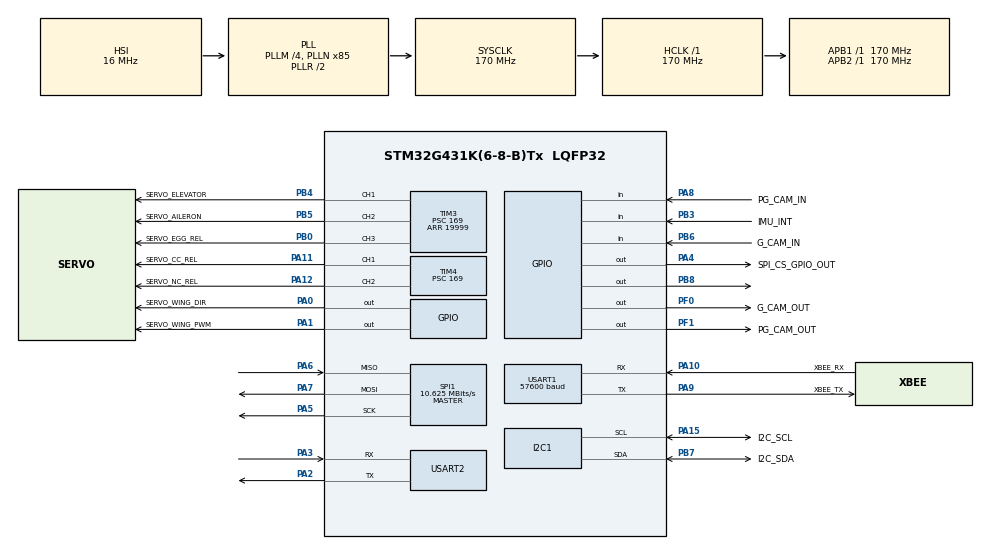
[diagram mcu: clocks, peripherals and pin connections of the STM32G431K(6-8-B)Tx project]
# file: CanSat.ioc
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I2C1.Timing=0x40B285C2
Mcu.Family=STM32G4
Mcu.Name=STM32G431K(6-8-B)Tx
Mcu.Package=LQFP32
NUCLEO-G431KB.LD2=true
NUCLEO-G431KB.VCP=true
NVIC.I2C1_ER_IRQn=true\:0\:0\:false\:false\:true\:true\:true\:true
NVIC.PriorityGroup=NVIC_PRIORITYGROUP_4
NVIC.TIM1_UP_TIM16_IRQn=true\:0\:0\:false\:false\:true\:true\:true\:true
NVIC.TIM2_IRQn=true\:0\:0\:false\:false\:true\:true\:true\:true
NVIC.TIM8_UP_IRQn=true\:0\:0\:false\:false\:true\:true\:true\:true
NVIC.USART1_IRQn=true\:0\:0\:false\:false\:true\:true\:true\:true
PA0.GPIO_Label=SERVO_WING_DIR
PA0.Signal=GPIO_Output
PA1.GPIO_Label=SERVO_WING_PWM
PA1.Signal=GPIO_Output
PA10.GPIO_Label=XBEE_RX
PA10.Mode=Asynchronous
PA10.Signal=USART1_RX
PA11.GPIO_Label=SERVO_CC_REL
PA11.Signal=S_TIM4_CH1
PA12.GPIO_Label=SERVO_NC_REL
PA12.Signal=S_TIM4_CH2
PA13.GPIO_Label=T_SWDIO
PA13.Signal=SYS_JTMS-SWDIO
PA14.GPIO_Label=T_SWCLK
PA14.Signal=SYS_JTCK-SWCLK
PA15.GPIO_Label=I2C_SCL
PA15.GPIO_Pu=GPIO_PULLUP
PA15.GPIO_Speed=GPIO_SPEED_FREQ_LOW
PA15.Mode=I2C
PA15.Signal=I2C1_SCL
PA2.Mode=Asynchronous
PA2.Signal=USART2_TX
PA3.Mode=Asynchronous
PA3.Signal=USART2_RX
PA4.GPIO_Label=SPI_CS_GPIO_OUT
PA4.Signal=GPIO_Output
PA5.Mode=Full_Duplex_Master
PA5.Signal=SPI1_SCK
PA6.Mode=Full_Duplex_Master
PA6.Signal=SPI1_MISO
PA7.Mode=Full_Duplex_Master
PA7.Signal=SPI1_MOSI
PA8.GPIO_Label=PG_CAM_IN
PA8.GPIO_PuPd=GPIO_PULLUP
PA8.Signal=GPIO_Input
PA9.GPIO_Label=XBEE_TX
PA9.Mode=Asynchronous
PA9.Signal=USART1_TX
PB0.GPIO_Label=SERVO_EGG_REL
PB0.Signal=S_TIM3_CH3
PB3.GPIO_Label=IMU_INT
PB3.Signal=GPIO_Input
PB4.GPIO_Label=SERVO_ELEVATOR
PB4.Signal=S_TIM3_CH1
PB5.GPIO_Label=SERVO_AILERON
PB5.Signal=S_TIM3_CH2
PB6.GPIO_Label=G_CAM_IN
PB6.GPIO_PuPd=GPIO_PULLUP
PB6.Signal=GPIO_Input
PB7.GPIO_Label=I2C_SDA
PB7.GPIO_Pu=GPIO_PULLUP
PB7.GPIO_Speed=GPIO_SPEED_FREQ_LOW
PB7.Mode=I2C
PB7.Signal=I2C1_SDA
PB8-BOOT0.Signal=GPIO_Output
PF0-OSC_IN.GPIO_Label=G_CAM_OUT
PF0-OSC_IN.PinState=GPIO_PIN_SET
PF0-OSC_IN.Signal=GPIO_Output
PF1-OSC_OUT.GPIO_Label=PG_CAM_OUT
PF1-OSC_OUT.GPIO_Speed=GPIO_SPEED_FREQ_LOW
PF1-OSC_OUT.PinState=GPIO_PIN_SET
PF1-OSC_OUT.Signal=GPIO_Output
ProjectManager.HeapSize=0x200
ProjectManager.StackSize=0x400
ProjectManager.TargetToolchain=STM32CubeIDE
RCC.ADC12Freq_Value=170000000
RCC.AHBFreq_Value=170000000
RCC.APB1Freq_Value=170000000
RCC.APB1TimFreq_Value=170000000
RCC.APB2Freq_Value=170000000
RCC.APB2TimFreq_Value=170000000
RCC.CortexFreq_Value=170000000
RCC.EXTERNAL_CLOCK_VALUE=12288000
RCC.HCLKFreq_Value=170000000
RCC.HSE_VALUE=8000000
RCC.HSI48_VALUE=48000000
RCC.HSI_VALUE=16000000
RCC.LSE_VALUE=32768
RCC.PLLM=RCC_PLLM_DIV4
RCC.PLLN=85
RCC.SYSCLKFreq_VALUE=170000000
RCC.SYSCLKSource=RCC_SYSCLKSOURCE_PLLCLK
RCC.USBFreq_Value=170000000
RCC.VCOOutputFreq_Value=340000000
SH.S_TIM3_CH1.0=TIM3_CH1,PWM Generation1 CH1
SH.S_TIM3_CH2.0=TIM3_CH2,PWM Generation2 CH2
SH.S_TIM3_CH3.0=TIM3_CH3,PWM Generation3 CH3
SH.S_TIM4_CH1.0=TIM4_CH1,PWM Generation1 CH1
SH.S_TIM4_CH2.0=TIM4_CH2,PWM Generation2 CH2
SPI1.BaudRatePrescaler=SPI_BAUDRATEPRESCALER_16
SPI1.CalculateBaudRate=10.625 MBits/s
SPI1.DataSize=SPI_DATASIZE_8BIT
SPI1.Direction=SPI_DIRECTION_2LINES
SPI1.Mode=SPI_MODE_MASTER
SPI1.NSSPMode=SPI_NSS_PULSE_DISABLE
SPI1.VirtualType=VM_MASTER
SYS.PVDLevel=PWR_PVDLEVEL_6
TIM1.PeriodNoDither=9999
TIM1.Prescaler=16999
TIM2.PeriodNoDither=999
TIM2.Prescaler=1699
TIM3.Channel-PWM\ Generation1\ CH1=TIM_CHANNEL_1
TIM3.Channel-PWM\ Generation2\ CH2=TIM_CHANNEL_2
TIM3.Channel-PWM\ Generation3\ CH3=TIM_CHANNEL_3
TIM3.PeriodNoDither=19999
TIM3.Prescaler=169
TIM4.Channel-PWM\ Generation1\ CH1=TIM_CHANNEL_1
TIM4.Channel-PWM\ Generation2\ CH2=TIM_CHANNEL_2
TIM4.PeriodNoDither=19999
TIM4.Prescaler=169
TIM8.PeriodNoDither=1999
TIM8.Prescaler=1699
USART1.BaudRate=57600
USART1.VirtualMode-Asynchronous=VM_ASYNC
USART2.VirtualMode-Asynchronous=VM_ASYNC
VP_NUCLEO-G431KB_VS_BSP_COMMON.Mode=COMMON
VP_SYS_VS_DBSignals.Mode=DisableDeadBatterySignals
VP_SYS_V_PVD_IN.Mode=Mode_PVD_Int
VP_TIM1_VS_ClockSourceINT.Mode=Internal
VP_TIM2_VS_ClockSourceINT.Mode=Internal
VP_TIM3_VS_ClockSourceINT.Mode=Internal
VP_TIM4_VS_ClockSourceINT.Mode=Internal
VP_TIM8_VS_ClockSourceINT.Mode=Internal
board=NUCLEO-G431KB

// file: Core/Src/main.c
/* USER CODE BEGIN Header */
/**
  ******************************************************************************
  * @file           : main.c
  * @brief          : Main program body
  ******************************************************************************
  * @attention
  *
  * Copyright (c) 2025 STMicroelectronics.
  * All rights reserved.
  *
  * This software is licensed under terms that can be found in the LICENSE file
  * in the root directory of this software component.
  * If no LICENSE file comes with this software, it is provided AS-IS.
  *
  ******************************************************************************
  */
/* USER CODE END Header */
#include "main.h"

/* USER CODE BEGIN Includes */
#ifdef __cplusplus
 extern "C" {
#endif
void main_cpp();
#ifdef __cplusplus
}
#endif
/* USER CODE END Includes */

COM_InitTypeDef BspCOMInit;

I2C_HandleTypeDef hi2c1;

SPI_HandleTypeDef hspi1;

TIM_HandleTypeDef htim1;
TIM_HandleTypeDef htim2;
TIM_HandleTypeDef htim3;
TIM_HandleTypeDef htim4;
TIM_HandleTypeDef htim8;

UART_HandleTypeDef huart1;
UART_HandleTypeDef huart2;

/* USER CODE BEGIN PV */
volatile uint8_t send_flag = 0;
volatile uint8_t pvd_flag = 0;
uint8_t rx_byte;
volatile char rx_buff[128];
volatile uint8_t rx_idx = 0;
volatile uint8_t cmd_ready = 0;
volatile uint8_t discard_flag = 0;
volatile uint8_t update_flag = 0;
volatile uint8_t bno_flag = 0;
/* USER CODE END PV */

void SystemClock_Config(void);
static void MX_GPIO_Init(void);
static void MX_I2C1_Init(void);
static void MX_SPI1_Init(void);
static void MX_TIM1_Init(void);
static void MX_USART1_UART_Init(void);
static void MX_TIM3_Init(void);
static void MX_TIM4_Init(void);
static void MX_TIM8_Init(void);
static void MX_TIM2_Init(void);
static void MX_USART2_UART_Init(void);

int main(void)
{

  /* MCU Configuration--------------------------------------------------------*/

  /* Reset of all peripherals, Initializes the Flash interface and the Systick. */
  HAL_Init();

  /* Configure the system clock */
  SystemClock_Config();

  /* Initialize all configured peripherals */
  MX_GPIO_Init();
  MX_I2C1_Init();
  MX_SPI1_Init();
  MX_TIM1_Init();
  MX_USART1_UART_Init();
  MX_TIM3_Init();
  MX_TIM4_Init();
  MX_TIM8_Init();
  MX_TIM2_Init();
  MX_USART2_UART_Init();
  /* USER CODE BEGIN 2 */

  HAL_UART_Receive_IT(&huart1, &rx_byte, 1);

  /* USER CODE END 2 */

  /* Initialize leds */
  BSP_LED_Init(LED_GREEN);

  /* Initialize COM1 port (115200, 8 bits (7-bit data + 1 stop bit), no parity */
  BspCOMInit.BaudRate   = 115200;
  BspCOMInit.WordLength = COM_WORDLENGTH_8B;
  BspCOMInit.StopBits   = COM_STOPBITS_1;
  BspCOMInit.Parity     = COM_PARITY_NONE;
  BspCOMInit.HwFlowCtl  = COM_HWCONTROL_NONE;
  if (BSP_COM_Init(COM1, &BspCOMInit) != BSP_ERROR_NONE)
  {
    Error_Handler();
  }

  /* Infinite loop */
  /* USER CODE BEGIN WHILE */
  main_cpp();
  while (1)
  {

    /* USER CODE END WHILE */

  }
}

void SystemClock_Config(void)
{
  RCC_OscInitTypeDef RCC_OscInitStruct = {0};
  RCC_ClkInitTypeDef RCC_ClkInitStruct = {0};

  /** Configure the main internal regulator output voltage
  */
  HAL_PWREx_ControlVoltageScaling(PWR_REGULATOR_VOLTAGE_SCALE1_BOOST);

  /** Initializes the RCC Oscillators according to the specified parameters
  * in the RCC_OscInitTypeDef structure.
  */
  RCC_OscInitStruct.OscillatorType = RCC_OSCILLATORTYPE_HSI;
  RCC_OscInitStruct.HSIState = RCC_HSI_ON;
  RCC_OscInitStruct.HSICalibrationValue = RCC_HSICALIBRATION_DEFAULT;
  RCC_OscInitStruct.PLL.PLLState = RCC_PLL_ON;
  RCC_OscInitStruct.PLL.PLLSource = RCC_PLLSOURCE_HSI;
  RCC_OscInitStruct.PLL.PLLM = RCC_PLLM_DIV4;
  RCC_OscInitStruct.PLL.PLLN = 85;
  RCC_OscInitStruct.PLL.PLLP = RCC_PLLP_DIV2;
  RCC_OscInitStruct.PLL.PLLQ = RCC_PLLQ_DIV2;
  RCC_OscInitStruct.PLL.PLLR = RCC_PLLR_DIV2;
  if (HAL_RCC_OscConfig(&RCC_OscInitStruct) != HAL_OK)
  {
    Error_Handler();
  }

  /** Initializes the CPU, AHB and APB buses clocks
  */
  RCC_ClkInitStruct.ClockType = RCC_CLOCKTYPE_HCLK|RCC_CLOCKTYPE_SYSCLK
                              |RCC_CLOCKTYPE_PCLK1|RCC_CLOCKTYPE_PCLK2;
  RCC_ClkInitStruct.SYSCLKSource = RCC_SYSCLKSOURCE_PLLCLK;
  RCC_ClkInitStruct.AHBCLKDivider = RCC_SYSCLK_DIV1;
  RCC_ClkInitStruct.APB1CLKDivider = RCC_HCLK_DIV1;
  RCC_ClkInitStruct.APB2CLKDivider = RCC_HCLK_DIV1;

  if (HAL_RCC_ClockConfig(&RCC_ClkInitStruct, FLASH_LATENCY_4) != HAL_OK)
  {
    Error_Handler();
  }
}

static void MX_I2C1_Init(void)
{

  hi2c1.Instance = I2C1;
  hi2c1.Init.Timing = 0x40B285C2;
  hi2c1.Init.OwnAddress1 = 0;
  hi2c1.Init.AddressingMode = I2C_ADDRESSINGMODE_7BIT;
  hi2c1.Init.DualAddressMode = I2C_DUALADDRESS_DISABLE;
  hi2c1.Init.OwnAddress2 = 0;
  hi2c1.Init.OwnAddress2Masks = I2C_OA2_NOMASK;
  hi2c1.Init.GeneralCallMode = I2C_GENERALCALL_DISABLE;
  hi2c1.Init.NoStretchMode = I2C_NOSTRETCH_DISABLE;
  if (HAL_I2C_Init(&hi2c1) != HAL_OK)
  {
    Error_Handler();
  }

  /** Configure Analogue filter
  */
  if (HAL_I2CEx_ConfigAnalogFilter(&hi2c1, I2C_ANALOGFILTER_ENABLE) != HAL_OK)
  {
    Error_Handler();
  }

  /** Configure Digital filter
  */
  if (HAL_I2CEx_ConfigDigitalFilter(&hi2c1, 0) != HAL_OK)
  {
    Error_Handler();
  }

}

static void MX_SPI1_Init(void)
{

  /* SPI1 parameter configuration*/
  hspi1.Instance = SPI1;
  hspi1.Init.Mode = SPI_MODE_MASTER;
  hspi1.Init.Direction = SPI_DIRECTION_2LINES;
  hspi1.Init.DataSize = SPI_DATASIZE_8BIT;
  hspi1.Init.CLKPolarity = SPI_POLARITY_LOW;
  hspi1.Init.CLKPhase = SPI_PHASE_1EDGE;
  hspi1.Init.NSS = SPI_NSS_SOFT;
  hspi1.Init.BaudRatePrescaler = SPI_BAUDRATEPRESCALER_16;
  hspi1.Init.FirstBit = SPI_FIRSTBIT_MSB;
  hspi1.Init.TIMode = SPI_TIMODE_DISABLE;
  hspi1.Init.CRCCalculation = SPI_CRCCALCULATION_DISABLE;
  hspi1.Init.CRCPolynomial = 7;
  hspi1.Init.CRCLength = SPI_CRC_LENGTH_DATASIZE;
  hspi1.Init.NSSPMode = SPI_NSS_PULSE_DISABLE;
  if (HAL_SPI_Init(&hspi1) != HAL_OK)
  {
    Error_Handler();
  }

}

static void MX_TIM1_Init(void)
{

  TIM_ClockConfigTypeDef sClockSourceConfig = {0};
  TIM_MasterConfigTypeDef sMasterConfig = {0};

  htim1.Instance = TIM1;
  htim1.Init.Prescaler = 16999;
  htim1.Init.CounterMode = TIM_COUNTERMODE_UP;
  htim1.Init.Period = 9999;
  htim1.Init.ClockDivision = TIM_CLOCKDIVISION_DIV1;
  htim1.Init.RepetitionCounter = 0;
  htim1.Init.AutoReloadPreload = TIM_AUTORELOAD_PRELOAD_DISABLE;
  if (HAL_TIM_Base_Init(&htim1) != HAL_OK)
  {
    Error_Handler();
  }
  sClockSourceConfig.ClockSource = TIM_CLOCKSOURCE_INTERNAL;
  if (HAL_TIM_ConfigClockSource(&htim1, &sClockSourceConfig) != HAL_OK)
  {
    Error_Handler();
  }
  sMasterConfig.MasterOutputTrigger = TIM_TRGO_RESET;
  sMasterConfig.MasterOutputTrigger2 = TIM_TRGO2_RESET;
  sMasterConfig.MasterSlaveMode = TIM_MASTERSLAVEMODE_DISABLE;
  if (HAL_TIMEx_MasterConfigSynchronization(&htim1, &sMasterConfig) != HAL_OK)
  {
    Error_Handler();
  }

}

static void MX_TIM2_Init(void)
{

  TIM_ClockConfigTypeDef sClockSourceConfig = {0};
  TIM_MasterConfigTypeDef sMasterConfig = {0};

  htim2.Instance = TIM2;
  htim2.Init.Prescaler = 1699;
  htim2.Init.CounterMode = TIM_COUNTERMODE_UP;
  htim2.Init.Period = 999;
  htim2.Init.ClockDivision = TIM_CLOCKDIVISION_DIV1;
  htim2.Init.AutoReloadPreload = TIM_AUTORELOAD_PRELOAD_DISABLE;
  if (HAL_TIM_Base_Init(&htim2) != HAL_OK)
  {
    Error_Handler();
  }
  sClockSourceConfig.ClockSource = TIM_CLOCKSOURCE_INTERNAL;
  if (HAL_TIM_ConfigClockSource(&htim2, &sClockSourceConfig) != HAL_OK)
  {
    Error_Handler();
  }
  sMasterConfig.MasterOutputTrigger = TIM_TRGO_RESET;
  sMasterConfig.MasterSlaveMode = TIM_MASTERSLAVEMODE_DISABLE;
  if (HAL_TIMEx_MasterConfigSynchronization(&htim2, &sMasterConfig) != HAL_OK)
  {
    Error_Handler();
  }

}

static void MX_TIM3_Init(void)
{

  TIM_ClockConfigTypeDef sClockSourceConfig = {0};
  TIM_MasterConfigTypeDef sMasterConfig = {0};
  TIM_OC_InitTypeDef sConfigOC = {0};

  htim3.Instance = TIM3;
  htim3.Init.Prescaler = 169;
  htim3.Init.CounterMode = TIM_COUNTERMODE_UP;
  htim3.Init.Period = 19999;
  htim3.Init.ClockDivision = TIM_CLOCKDIVISION_DIV1;
  htim3.Init.AutoReloadPreload = TIM_AUTORELOAD_PRELOAD_DISABLE;
  if (HAL_TIM_Base_Init(&htim3) != HAL_OK)
  {
    Error_Handler();
  }
  sClockSourceConfig.ClockSource = TIM_CLOCKSOURCE_INTERNAL;
  if (HAL_TIM_ConfigClockSource(&htim3, &sClockSourceConfig) != HAL_OK)
  {
    Error_Handler();
  }
  if (HAL_TIM_PWM_Init(&htim3) != HAL_OK)
  {
    Error_Handler();
  }
  sMasterConfig.MasterOutputTrigger = TIM_TRGO_RESET;
  sMasterConfig.MasterSlaveMode = TIM_MASTERSLAVEMODE_DISABLE;
  if (HAL_TIMEx_MasterConfigSynchronization(&htim3, &sMasterConfig) != HAL_OK)
  {
    Error_Handler();
  }
  sConfigOC.OCMode = TIM_OCMODE_PWM1;
  sConfigOC.Pulse = 0;
  sConfigOC.OCPolarity = TIM_OCPOLARITY_HIGH;
  sConfigOC.OCFastMode = TIM_OCFAST_DISABLE;
  if (HAL_TIM_PWM_ConfigChannel(&htim3, &sConfigOC, TIM_CHANNEL_1) != HAL_OK)
  {
    Error_Handler();
  }
  if (HAL_TIM_PWM_ConfigChannel(&htim3, &sConfigOC, TIM_CHANNEL_2) != HAL_OK)
  {
    Error_Handler();
  }
  if (HAL_TIM_PWM_ConfigChannel(&htim3, &sConfigOC, TIM_CHANNEL_3) != HAL_OK)
  {
    Error_Handler();
  }
  HAL_TIM_MspPostInit(&htim3);

}

static void MX_TIM4_Init(void)
{

  TIM_ClockConfigTypeDef sClockSourceConfig = {0};
  TIM_MasterConfigTypeDef sMasterConfig = {0};
  TIM_OC_InitTypeDef sConfigOC = {0};

  htim4.Instance = TIM4;
  htim4.Init.Prescaler = 169;
  htim4.Init.CounterMode = TIM_COUNTERMODE_UP;
  htim4.Init.Period = 19999;
  htim4.Init.ClockDivision = TIM_CLOCKDIVISION_DIV1;
  htim4.Init.AutoReloadPreload = TIM_AUTORELOAD_PRELOAD_DISABLE;
  if (HAL_TIM_Base_Init(&htim4) != HAL_OK)
  {
    Error_Handler();
  }
  sClockSourceConfig.ClockSource = TIM_CLOCKSOURCE_INTERNAL;
  if (HAL_TIM_ConfigClockSource(&htim4, &sClockSourceConfig) != HAL_OK)
  {
    Error_Handler();
  }
  if (HAL_TIM_PWM_Init(&htim4) != HAL_OK)
  {
    Error_Handler();
  }
  sMasterConfig.MasterOutputTrigger = TIM_TRGO_RESET;
  sMasterConfig.MasterSlaveMode = TIM_MASTERSLAVEMODE_DISABLE;
  if (HAL_TIMEx_MasterConfigSynchronization(&htim4, &sMasterConfig) != HAL_OK)
  {
    Error_Handler();
  }
  sConfigOC.OCMode = TIM_OCMODE_PWM1;
  sConfigOC.Pulse = 0;
  sConfigOC.OCPolarity = TIM_OCPOLARITY_HIGH;
  sConfigOC.OCFastMode = TIM_OCFAST_DISABLE;
  if (HAL_TIM_PWM_ConfigChannel(&htim4, &sConfigOC, TIM_CHANNEL_1) != HAL_OK)
  {
    Error_Handler();
  }
  if (HAL_TIM_PWM_ConfigChannel(&htim4, &sConfigOC, TIM_CHANNEL_2) != HAL_OK)
  {
    Error_Handler();
  }
  HAL_TIM_MspPostInit(&htim4);

}

static void MX_TIM8_Init(void)
{

  TIM_ClockConfigTypeDef sClockSourceConfig = {0};
  TIM_MasterConfigTypeDef sMasterConfig = {0};

  htim8.Instance = TIM8;
  htim8.Init.Prescaler = 1699;
  htim8.Init.CounterMode = TIM_COUNTERMODE_UP;
  htim8.Init.Period = 1999;
  htim8.Init.ClockDivision = TIM_CLOCKDIVISION_DIV1;
  htim8.Init.RepetitionCounter = 0;
  htim8.Init.AutoReloadPreload = TIM_AUTORELOAD_PRELOAD_DISABLE;
  if (HAL_TIM_Base_Init(&htim8) != HAL_OK)
  {
    Error_Handler();
  }
  sClockSourceConfig.ClockSource = TIM_CLOCKSOURCE_INTERNAL;
  if (HAL_TIM_ConfigClockSource(&htim8, &sClockSourceConfig) != HAL_OK)
  {
    Error_Handler();
  }
  sMasterConfig.MasterOutputTrigger = TIM_TRGO_RESET;
  sMasterConfig.MasterOutputTrigger2 = TIM_TRGO2_RESET;
  sMasterConfig.MasterSlaveMode = TIM_MASTERSLAVEMODE_DISABLE;
  if (HAL_TIMEx_MasterConfigSynchronization(&htim8, &sMasterConfig) != HAL_OK)
  {
    Error_Handler();
  }

}

static void MX_USART1_UART_Init(void)
{

  huart1.Instance = USART1;
  huart1.Init.BaudRate = 57600;
  huart1.Init.WordLength = UART_WORDLENGTH_8B;
  huart1.Init.StopBits = UART_STOPBITS_1;
  huart1.Init.Parity = UART_PARITY_NONE;
  huart1.Init.Mode = UART_MODE_TX_RX;
  huart1.Init.HwFlowCtl = UART_HWCONTROL_NONE;
  huart1.Init.OverSampling = UART_OVERSAMPLING_16;
  huart1.Init.OneBitSampling = UART_ONE_BIT_SAMPLE_DISABLE;
  huart1.Init.ClockPrescaler = UART_PRESCALER_DIV1;
  huart1.AdvancedInit.AdvFeatureInit = UART_ADVFEATURE_NO_INIT;
  if (HAL_UART_Init(&huart1) != HAL_OK)
  {
    Error_Handler();
  }
  if (HAL_UARTEx_SetTxFifoThreshold(&huart1, UART_TXFIFO_THRESHOLD_1_8) != HAL_OK)
  {
    Error_Handler();
  }
  if (HAL_UARTEx_SetRxFifoThreshold(&huart1, UART_RXFIFO_THRESHOLD_1_8) != HAL_OK)
  {
    Error_Handler();
  }
  if (HAL_UARTEx_DisableFifoMode(&huart1) != HAL_OK)
  {
    Error_Handler();
  }

}

static void MX_USART2_UART_Init(void)
{

  huart2.Instance = USART2;
  huart2.Init.BaudRate = 115200;
  huart2.Init.WordLength = UART_WORDLENGTH_8B;
  huart2.Init.StopBits = UART_STOPBITS_1;
  huart2.Init.Parity = UART_PARITY_NONE;
  huart2.Init.Mode = UART_MODE_TX_RX;
  huart2.Init.HwFlowCtl = UART_HWCONTROL_NONE;
  huart2.Init.OverSampling = UART_OVERSAMPLING_16;
  huart2.Init.OneBitSampling = UART_ONE_BIT_SAMPLE_DISABLE;
  huart2.Init.ClockPrescaler = UART_PRESCALER_DIV1;
  huart2.AdvancedInit.AdvFeatureInit = UART_ADVFEATURE_NO_INIT;
  if (HAL_UART_Init(&huart2) != HAL_OK)
  {
    Error_Handler();
  }
  if (HAL_UARTEx_SetTxFifoThreshold(&huart2, UART_TXFIFO_THRESHOLD_1_8) != HAL_OK)
  {
    Error_Handler();
  }
  if (HAL_UARTEx_SetRxFifoThreshold(&huart2, UART_RXFIFO_THRESHOLD_1_8) != HAL_OK)
  {
    Error_Handler();
  }
  if (HAL_UARTEx_DisableFifoMode(&huart2) != HAL_OK)
  {
    Error_Handler();
  }

}

static void MX_GPIO_Init(void)
{
  GPIO_InitTypeDef GPIO_InitStruct = {0};

  /* GPIO Ports Clock Enable */
  __HAL_RCC_GPIOF_CLK_ENABLE();
  __HAL_RCC_GPIOA_CLK_ENABLE();
  __HAL_RCC_GPIOB_CLK_ENABLE();

  /*Configure GPIO pin Output Level */
  HAL_GPIO_WritePin(GPIOF, G_CAM_OUT_Pin|PG_CAM_OUT_Pin, GPIO_PIN_SET);

  /*Configure GPIO pin Output Level */
  HAL_GPIO_WritePin(GPIOA, SERVO_WING_DIR_Pin|SERVO_WING_PWM_Pin|SPI_CS_GPIO_OUT_Pin, GPIO_PIN_RESET);

  /*Configure GPIO pin Output Level */
  HAL_GPIO_WritePin(GPIOB, GPIO_PIN_8, GPIO_PIN_RESET);

  /*Configure GPIO pins : G_CAM_OUT_Pin PG_CAM_OUT_Pin */
  GPIO_InitStruct.Pin = G_CAM_OUT_Pin|PG_CAM_OUT_Pin;
  GPIO_InitStruct.Mode = GPIO_MODE_OUTPUT_PP;
  GPIO_InitStruct.Pull = GPIO_NOPULL;
  GPIO_InitStruct.Speed = GPIO_SPEED_FREQ_VERY_HIGH;
  HAL_GPIO_Init(GPIOF, &GPIO_InitStruct);

  /*Configure GPIO pins : SERVO_WING_DIR_Pin SERVO_WING_PWM_Pin SPI_CS_GPIO_OUT_Pin */
  GPIO_InitStruct.Pin = SERVO_WING_DIR_Pin|SERVO_WING_PWM_Pin|SPI_CS_GPIO_OUT_Pin;
  GPIO_InitStruct.Mode = GPIO_MODE_OUTPUT_PP;
  GPIO_InitStruct.Pull = GPIO_NOPULL;
  GPIO_InitStruct.Speed = GPIO_SPEED_FREQ_LOW;
  HAL_GPIO_Init(GPIOA, &GPIO_InitStruct);

  /*Configure GPIO pin : PG_CAM_IN_Pin */
  GPIO_InitStruct.Pin = PG_CAM_IN_Pin;
  GPIO_InitStruct.Mode = GPIO_MODE_INPUT;
  GPIO_InitStruct.Pull = GPIO_PULLUP;
  HAL_GPIO_Init(PG_CAM_IN_GPIO_Port, &GPIO_InitStruct);

  /*Configure GPIO pin : IMU_INT_Pin */
  GPIO_InitStruct.Pin = IMU_INT_Pin;
  GPIO_InitStruct.Mode = GPIO_MODE_INPUT;
  GPIO_InitStruct.Pull = GPIO_NOPULL;
  HAL_GPIO_Init(IMU_INT_GPIO_Port, &GPIO_InitStruct);

  /*Configure GPIO pin : G_CAM_IN_Pin */
  GPIO_InitStruct.Pin = G_CAM_IN_Pin;
  GPIO_InitStruct.Mode = GPIO_MODE_INPUT;
  GPIO_InitStruct.Pull = GPIO_PULLUP;
  HAL_GPIO_Init(G_CAM_IN_GPIO_Port, &GPIO_InitStruct);

  /*Configure GPIO pin : PB8 */
  GPIO_InitStruct.Pin = GPIO_PIN_8;
  GPIO_InitStruct.Mode = GPIO_MODE_OUTPUT_PP;
  GPIO_InitStruct.Pull = GPIO_NOPULL;
  GPIO_InitStruct.Speed = GPIO_SPEED_FREQ_LOW;
  HAL_GPIO_Init(GPIOB, &GPIO_InitStruct);

  /* USER CODE BEGIN MX_GPIO_Init_2 */

  /*Configure GPIO pins : SERVO_WING_DIR_Pin SERVO_WING_PWM_Pin */
  HAL_GPIO_WritePin(GPIOA, SERVO_WING_DIR_Pin|SERVO_WING_PWM_Pin, GPIO_PIN_RESET);
  GPIO_InitStruct.Pin = SERVO_WING_DIR_Pin|SERVO_WING_PWM_Pin;
  GPIO_InitStruct.Mode = GPIO_MODE_OUTPUT_PP;
  GPIO_InitStruct.Pull = GPIO_NOPULL;
  GPIO_InitStruct.Speed = GPIO_SPEED_FREQ_LOW;
  HAL_GPIO_Init(GPIOA, &GPIO_InitStruct);

  /* USER CODE END MX_GPIO_Init_2 */
}

/* USER CODE BEGIN 4 */
void HAL_TIM_PeriodElapsedCallback(TIM_HandleTypeDef* htim)
{
  if(htim == &htim1)
  {
    send_flag = 1;
  }
  else if(htim == &htim8)
  {
	update_flag = 1;
  }
  else if(htim == &htim2)
  {
	bno_flag = 1;
  }
}

void HAL_PWR_PVDCallback(void)
{
  pvd_flag = 1;
}

void HAL_UART_RxCpltCallback(UART_HandleTypeDef* huart)
{
	if(huart->Instance == USART1)
	{
		if(!cmd_ready)
		{
			if(discard_flag)
			{
				if(rx_byte == '\r' || rx_idx == sizeof(rx_buff))
				{
					discard_flag = 0;
				}
			}
			else
			{
				if(rx_byte == '\r')
				{
					rx_buff[rx_idx] = '\0';
					cmd_ready = 1;
					rx_idx = 0;
				}
				else
				{
					rx_buff[rx_idx++] = rx_byte;
					if(rx_idx >= sizeof(rx_buff) - 1)
					{
						rx_idx = 0;
					}
				}
			}
		}
		else
		{
			discard_flag = 1;
		}

		HAL_UART_Receive_IT(&huart1, &rx_byte, 1);
	}
}
/* USER CODE END 4 */

/* USER CODE BEGIN Header */
/**
  ******************************************************************************
  * @file           : main.c
  * @brief          : Main program body
  ******************************************************************************
  * @attention
  *
  * Copyright (c) 2025 STMicroelectronics.
  * All rights reserved.
  *
  * This software is licensed under terms that can be found in the LICENSE file
  * in the root directory of this software component.
  * If no LICENSE file comes with this software, it is provided AS-IS.
  *
  ******************************************************************************
  */
/* USER CODE END Header */

void Error_Handler(void)
{
  __disable_irq();
  while (1)
  {
  }
}
